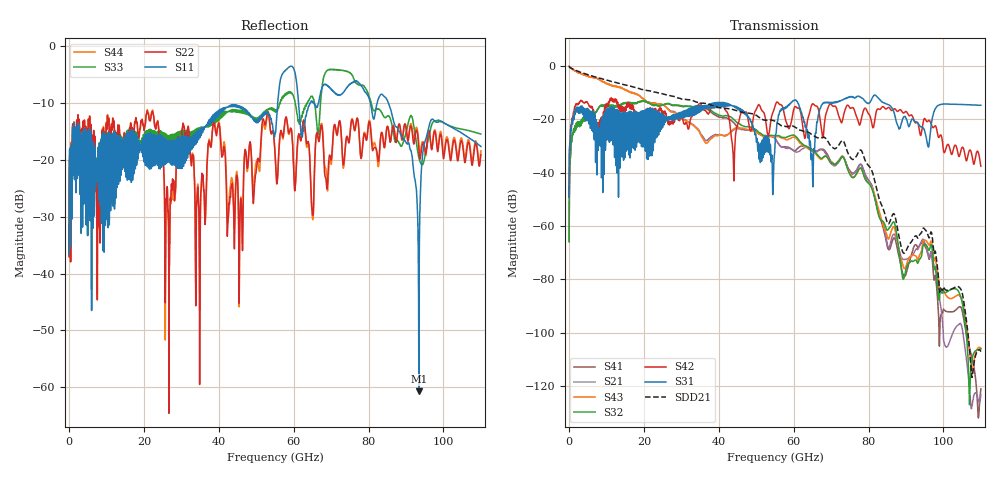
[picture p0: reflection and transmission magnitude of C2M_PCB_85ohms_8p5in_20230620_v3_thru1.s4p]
! Info: Touchstone file created by Circ.  Input file=C2M_PCB_85ohms_8p5in_20230620_v3.circ
# Hz S RI R 50
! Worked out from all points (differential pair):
!   11000 points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, 10 MHz to 110 GHz, reference 50 ohm
!   strongest paths, dB at 10 MHz, 27.51 GHz, 55.01 GHz, 82.51 GHz, 110 GHz:
!     S31: -49.3, -19.1, -29.7, -11.9, -14.8
!     S42: -49.1, -21.3, -15.0, -16.1, -37.6
!     S32: -65.8, -14.6, -26.1, -55.0, -106.0
!     S43: -0.1, -17.3, -26.5, -53.0, -105.9
!     S21: -0.1, -17.0, -27.1, -54.8, -123.1
!     S41: -65.8, -14.8, -27.3, -53.9, -121.0
!   taken as a pair (ports 3,1 in; 4,2 out), SDD21 dB: -0.1, -11.3, -20.8, -48.2, -107.0
!   lowest |S11| = -60.7 dB at 93.42 GHz (marker M1), VSWR 1.00, Z = 49.9 - j0.00486 ohm
!   |S11| at or under -10 dB: start of sweep to 55.72 GHz; 61.28 GHz to 64.29 GHz (3.005 GHz wide, 4.79 % of centre); 85.32 GHz to end of sweep (the widest 3 of 5)
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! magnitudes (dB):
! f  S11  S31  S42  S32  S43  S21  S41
! 10 MHz  -36.6  -49.3  -49.1  -65.8  -0.1  -0.1  -65.8
! 8.28 GHz  -28.0  -26.0  -22.4  -15.1  -5.3  -5.3  -15.1
! 36.25 GHz  -14.1  -15.9  -16.7  -15.5  -28.5  -27.6  -15.9
! 54.41 GHz  -14.2  -48.2  -17.5  -26.1  -26.5  -26.5  -26.6
! 73.08 GHz  -8.2  -12.7  -20.1  -34.0  -33.8  -34.1  -33.9
! 93.42 GHz  -60.7  -22.0  -22.9  -72.9  -71.6  -67.9  -67.7
! 110 GHz  -17.6  -14.8  -37.6  -106.0  -105.9  -123.1  -121.0
